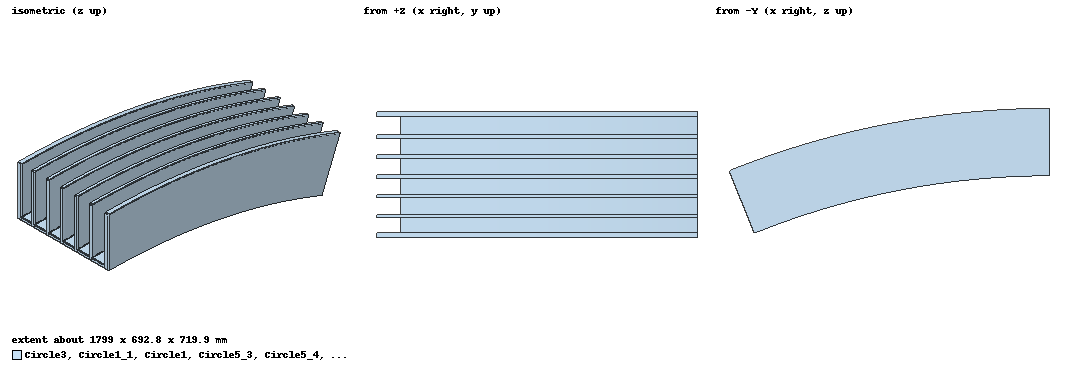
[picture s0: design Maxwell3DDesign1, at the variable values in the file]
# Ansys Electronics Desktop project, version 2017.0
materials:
  vacuum: permittivity=1

design Maxwell3DDesign1 (Maxwell 3D, Magnetostatic, model units mm)
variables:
  r_out = 4.7meter
  r_in = 4.44meter
  Np = 216
  t_o = 0.03meter
  total_length = (2*t_o+n_stack*l_ss+(n_stack-1)*t_i) meter
  r_web = 4.33meter
  lc = 0.0215meter
  l_ss = (2*h_m+l_mm) meter
  h_m = 0.0171meter
  l_mm = h_w+2*g
  h_w = 0.0406meter
  g = 0.007meter
  t_i = 0.02meter
  n_stack = 6
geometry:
  Circle1 [vacuum] = circle(normal=Y, centre=(0mm, 0mm, 0mm), radius=r_out)
  Circle2 = circle(normal=Y, centre=(0mm, 0mm, 0mm), radius=r_web)
  Circle1.subtract(Circle2)
  Circle1.split(plane=XY, keep=PositiveOnly)
  Circle1.split(plane=YZ, keep=PositiveOnly)
  Circle1.rotate(axis=Y, angle=-(360/Np)*4)
  Circle1.split(plane=YZ, keep=NegativeOnly)
  Circle1.sweep_along_vector((0mm, t_o, 0mm))
  Circle1_1 [vacuum] = Circle1.duplicate_along_line(step=(0mm, total_length-t_o, 0mm), total=2)
  Circle3 [vacuum] = circle(normal=Y, centre=(0mm, 0mm, 0mm), radius=r_web+lc)
  Circle3.split(plane=XY, keep=PositiveOnly)
  Circle3.split(plane=YZ, keep=NegativeOnly)
  Circle3.rotate(axis=Y, angle=(360/Np)*4)
  Circle3.split(plane=YZ, keep=PositiveOnly)
  Circle3.rotate(axis=Y, angle=-(360/Np)*4)
  Circle3.sweep_along_vector((0mm, total_length, 0mm))
  Circle4 = circle(normal=Y, centre=(0mm, 0mm, 0mm), radius=r_web)
  Circle4.sweep_along_vector((0mm, total_length+t_o, 0mm))
  Circle3.subtract(Circle4)
  Circle5 = circle(normal=Y, centre=(0mm, 0mm, 0mm), radius=r_out)
  Circle6 = circle(normal=Y, centre=(0mm, 0mm, 0mm), radius=r_web)
  Circle5.subtract(Circle6)
  Circle5.split(plane=XY, keep=PositiveOnly)
  Circle5.split(plane=YZ, keep=PositiveOnly)
  Circle5.rotate(axis=Y, angle=-(360/Np)*4)
  Circle5.split(plane=YZ, keep=NegativeOnly)
  Circle5.sweep_along_vector((0mm, t_i, 0mm))
  Circle5_1..Circle5_5 [vacuum] = Circle5.duplicate_along_line(step=(0mm, l_ss+t_i, 0mm), total=6)
  Circle5.delete()
